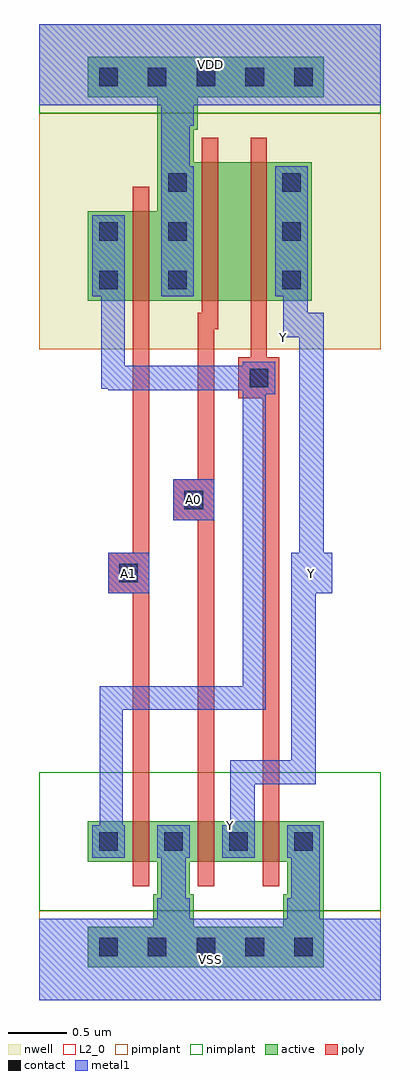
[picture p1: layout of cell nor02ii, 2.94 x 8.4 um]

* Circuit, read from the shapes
.subckt nor02ii A0 A1 VDD VSS Y
M1 VSS A1 n1 VSS nfet w=0.35u l=0.14u
M2 Y A0 VSS VSS nfet w=0.35u l=0.14u
M3 VSS n1 Y VSS nfet w=0.35u l=0.14u
M4 VDD A1 n1 VDD pfet w=0.77u l=0.14u
M5 n2 A0 VDD VDD pfet w=1.19u l=0.14u
M6 Y n1 n2 VDD pfet w=1.19u l=0.14u
.ends

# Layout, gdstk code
import gdstk
lib = gdstk.Library(unit=1e-6, precision=1e-09)
def R(c, l, rs):  # rectangles x0, y0, x1, y1
    for r in rs: c.add(gdstk.rectangle(r[:2], r[2:], *l))
def A(c, l, x, y, w, h, nx, ny, dx, dy):  # array of equal rectangles
    R(c, l, [(x+i*dx, y+j*dy, x+i*dx+w, y+j*dy+h) for i in range(nx) for j in range(ny)])
def P(c, l, *ps):  # polygons
    for p in ps: c.add(gdstk.Polygon(p, *l))
L2_0 = (2, 0)
nwell = (3, 0)
active = (6, 0)
poly = (17, 0)
pimplant = (25, 0)
nimplant = (26, 0)
contact = (30, 0)
metal1 = (31, 0)

adk_poly_m1 = lib.new_cell('ADK_poly_m1')
R(adk_poly_m1, poly, [(-0.175,-0.175,0.175,0.175)])
R(adk_poly_m1, contact, [(-0.08,-0.08,0.08,0.08)])
R(adk_poly_m1, metal1, [(-0.175,-0.175,0.175,0.175)])

nor02ii = lib.new_cell('nor02ii')
R(nor02ii, L2_0, [(0,0,2.94,0.77), (0,0.7,2.94,1.96)])
R(nor02ii, nwell, [(0,5.6,2.94,7.7), (0,7.63,2.94,8.4)])
P(nor02ii, nwell, [(2.765,5.6),(2.765,7.63),(0.595,7.63),(0.595,7.21),(0,7.21),(0,5.6)])
R(nor02ii, active, [(0.42,0.28,2.45,0.63), (0.98,0.63,1.33,0.91), (2.1,0.63,2.45,0.91), (1.015,0.91,1.295,1.19), (2.135,0.91,2.45,1.19), (0.42,1.19,2.45,1.54), (0.42,1.19,0.805,1.54), (2.065,1.19,2.45,1.54), (0.42,6.02,0.805,6.79), (1.96,6.02,2.345,7.21), (1.015,7.21,1.33,7.49), (1.015,7.49,1.365,7.77), (0.42,7.77,2.45,8.12)])
P(nor02ii, active, [(2.345,6.02),(2.345,7.21),(1.015,7.21),(1.015,6.79),(0.42,6.79),(0.42,6.02)])
A(nor02ii, poly, 0.805, 0.98, 0.14, 0.21, 3, 2, 0.56, 0.56)
A(nor02ii, poly, 0.805, 1.19, 0.14, 0.35, 3, 1, 0.56, 0)
R(nor02ii, poly, [(0.805,1.715,0.945,5.845), (1.925,1.715,2.065,5.18), (1.715,5.18,2.065,5.53), (1.82,5.53,1.96,5.845), (0.805,5.81,0.945,6.02), (1.4,5.81,1.54,6.02), (1.82,5.81,1.96,6.02), (0.805,6.02,0.945,6.79), (1.4,6.02,1.54,7.21), (1.82,6.02,1.96,7.21), (0.805,6.79,0.945,7), (1.4,7.21,1.54,7.42), (1.82,7.21,1.96,7.42)])
P(nor02ii, poly, [(1.365,1.715),(1.505,1.715),(1.505,5.775),(1.54,5.775),(1.54,5.915),(1.365,5.915)])
R(nor02ii, pimplant, [(0,0,2.94,0.77), (0,5.6,2.94,7.63)])
R(nor02ii, nimplant, [(0,0.77,2.94,1.96), (0,7.63,2.94,8.4)])
A(nor02ii, contact, 0.515, 0.375, 0.16, 0.16, 5, 2, 0.42, 7.49)
A(nor02ii, contact, 0.515, 1.285, 0.16, 0.16, 4, 1, 0.56, 0)
A(nor02ii, contact, 1.11, 6.115, 0.16, 0.16, 1, 3, 0, 0.42)
A(nor02ii, contact, 2.09, 6.115, 0.16, 0.16, 1, 3, 0, 0.42)
R(nor02ii, contact, [(1.81,5.275,1.97,5.435), (0.515,6.115,0.675,6.275), (0.515,6.535,0.675,6.695)])
A(nor02ii, metal1, 0.455, 1.225, 0.28, 0.28, 4, 1, 0.56, 0)
R(nor02ii, metal1, [(0,0,2.94,0.7), (0,0,2.94,0.7), (1.015,0.7,1.295,0.875), (2.135,0.7,2.415,0.875), (1.05,0.875,1.26,1.225), (2.17,0.875,2.415,1.225), (0.595,3.5,0.945,3.85), (2.17,3.5,2.52,3.85), (2.17,3.5,2.52,3.85), (1.155,4.13,1.505,4.48), (1.75,5.215,2.03,5.495), (0.595,5.25,1.75,5.46), (0.455,6.055,0.735,6.755), (1.05,6.055,1.33,7.175), (2.03,6.055,2.31,7.175), (1.05,7.175,1.295,7.525), (1.05,7.525,1.33,7.7), (0,7.7,2.94,8.4), (0,7.7,2.94,8.4)])
P(nor02ii, metal1, [(1.645,1.505),(1.855,1.505),(1.855,1.855),(2.38,1.855),(2.38,3.5),(2.17,3.5),(2.17,2.065),(1.645,2.065)],
  [(0.535,5.26),(0.795,5.26),(0.795,5.46),(0.735,5.46),(0.735,6.255),(0.535,6.255)],
  [(0.52,1.305),(0.72,1.305),(0.72,2.5),(1.95,2.5),(1.95,5.415),(1.75,5.415),(1.75,2.7),(0.52,2.7)],
  [(2.1,5.705),(2.24,5.705),(2.24,3.85),(2.45,3.85),(2.45,5.915),(2.31,5.915),(2.31,6.055),(2.1,6.055)])
nor02ii.add(gdstk.Reference(adk_poly_m1, (0.77,3.675)))
nor02ii.add(gdstk.Reference(adk_poly_m1, (1.33,4.305)))
nor02ii.add(gdstk.Label('VSS', (1.47,0.35), layer=131, texttype=0))
nor02ii.add(gdstk.Label('VDD', (1.47,8.05), layer=131, texttype=0))
nor02ii.add(gdstk.Label('A1', (0.77,3.675), layer=131, texttype=0))
nor02ii.add(gdstk.Label('A0', (1.33,4.305), layer=131, texttype=0))
nor02ii.add(gdstk.Label('Y', (2.345,3.675), layer=131, texttype=0))
nor02ii.add(gdstk.Label('VSS', (1.47,0.35), layer=31, texttype=0))
nor02ii.add(gdstk.Label('VDD', (1.47,8.05), layer=31, texttype=0))
nor02ii.add(gdstk.Label('A1', (0.77,3.675), layer=31, texttype=0))
nor02ii.add(gdstk.Label('A0', (1.33,4.305), layer=31, texttype=0))
nor02ii.add(gdstk.Label('Y', (2.345,3.675), layer=31, texttype=0))
nor02ii.add(gdstk.Label('Y', (2.345,3.675), layer=31, texttype=0))
nor02ii.add(gdstk.Label('Y', (1.645,1.505), layer=31, texttype=0))
nor02ii.add(gdstk.Label('Y', (2.1,5.705), layer=31, texttype=0))

lib.write_gds('nor02ii.gds')
